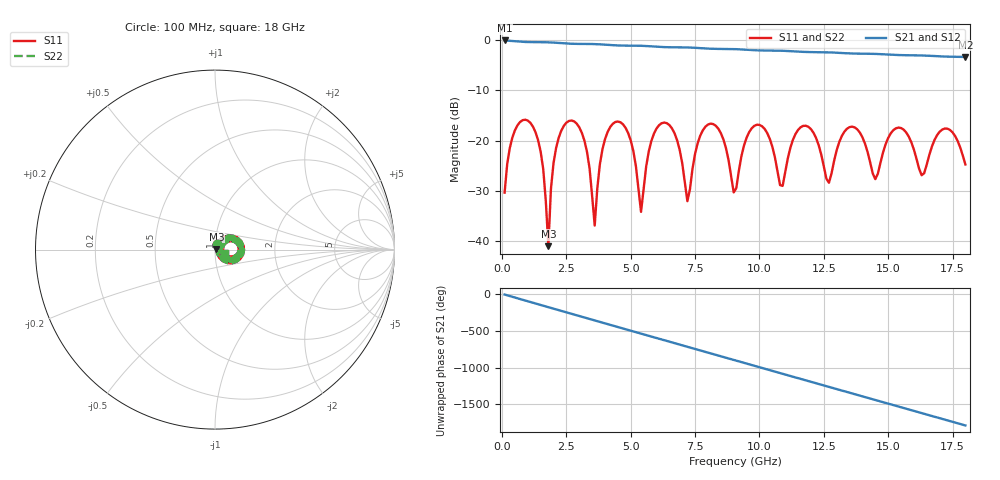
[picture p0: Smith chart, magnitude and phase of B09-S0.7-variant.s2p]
! yapnr rf coupon B: B09 S0.7 (variant, family S0.7)
! stackup JLC06161H-2116C, nominal parameters; reference planes 10 mm from each end; 50 ohm (renormalized from the line's Zc)
! model: 2D quasi-static RLGC (Djordjevic-Sarkar, Huray roughness, Wheeler loss); generated by python -m yapnr.rf.coupons expected
# GHz S DB R 50
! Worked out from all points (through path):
!   180 points, 100 MHz to 18 GHz, reference 50 ohm
!   highest |S21| = -0.06 dB at 100 MHz (marker M1); lowest = -3.3 dB at 18 GHz (marker M2)
!   group delay of S21, straight-line fit = 275 ps
!   lowest |S11| = -41.0 dB at 1.8 GHz (marker M3), VSWR 1.02, Z = 50.8 + j0.417 ohm
!   |S11| at or under -10 dB: start of sweep to end of sweep
!   |S22| runs from -41.0 to -15.8 dB; largest |S21 - S12| = 0
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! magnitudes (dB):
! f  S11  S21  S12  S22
! 100 MHz  -30.3  -0.1  -0.1  -30.3
! 1.1 GHz  -16.4  -0.4  -0.4  -16.4
! 1.6 GHz  -25.6  -0.4  -0.4  -25.6
! 1.8 GHz  -41.0  -0.4  -0.4  -41.0
! 2.2 GHz  -19.4  -0.6  -0.6  -19.4
! 3.1 GHz  -18.4  -0.7  -0.7  -18.4
! 3.6 GHz  -36.9  -0.8  -0.8  -36.9
! 4.2 GHz  -17.3  -1.0  -1.0  -17.3
! 4.9 GHz  -18.5  -1.1  -1.1  -18.5
! 5.4 GHz  -34.1  -1.1  -1.1  -34.1
! 6.1 GHz  -16.9  -1.3  -1.3  -16.9
! 7.2 GHz  -32.0  -1.4  -1.4  -32.0
! 8.1 GHz  -16.6  -1.7  -1.7  -16.6
! 9.1 GHz  -29.4  -1.8  -1.8  -29.4
! 9.8 GHz  -17.0  -2.0  -2.0  -17.0
! 10.9 GHz  -29.0  -2.1  -2.1  -29.0
! 12.1 GHz  -18.4  -2.4  -2.4  -18.4
! 12.7 GHz  -28.4  -2.4  -2.4  -28.4
! 13.4 GHz  -17.6  -2.6  -2.6  -17.6
! 14.5 GHz  -27.6  -2.7  -2.7  -27.6
! 15.1 GHz  -18.5  -2.9  -2.9  -18.5
! 18 GHz  -24.7  -3.3  -3.3  -24.7
